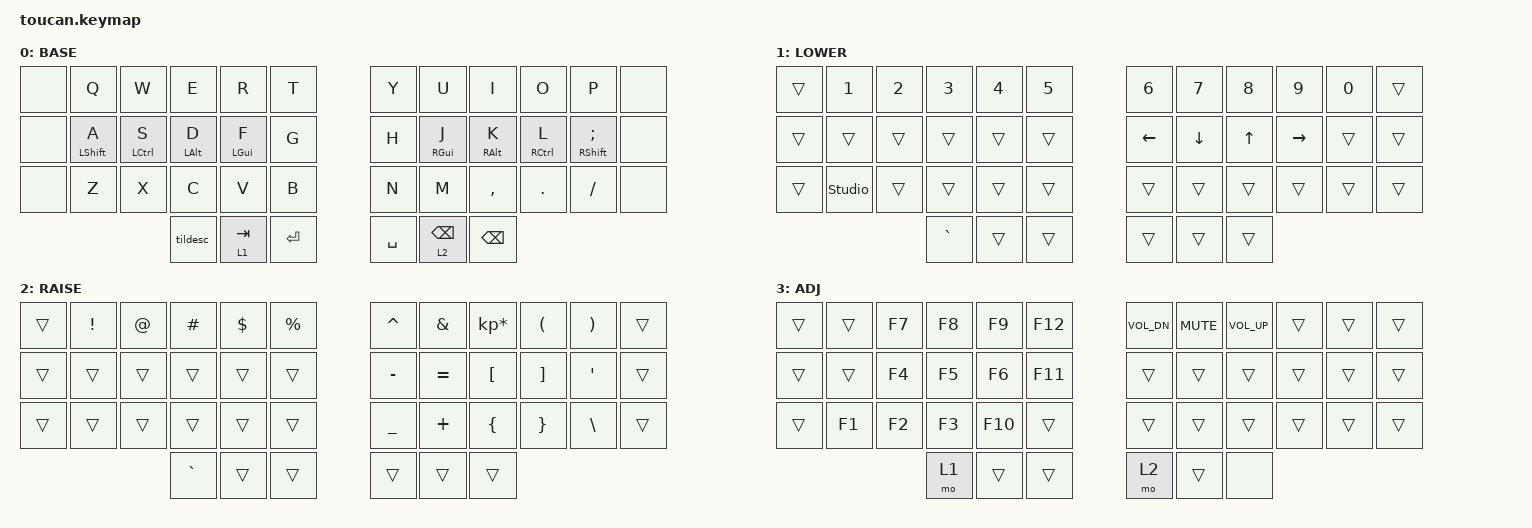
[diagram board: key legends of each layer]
#include <behaviors.dtsi>
#include <dt-bindings/zmk/keys.h>
#include <dt-bindings/zmk/bt.h>
#include <dt-bindings/zmk/outputs.h>

// Adding pointing.h to be able to right and middle click
// https://zmk.dev/docs/keymaps/behaviors/mouse-emulation
#include <dt-bindings/zmk/pointing.h>

#define BASE  0
#define LOWER 1
#define RAISE 2
#define ADJ   3


#define KEYS_L            0 1 2 3 4 5 12 13 14 15 16 17 24 25 26 27 28 29
#define KEYS_R            6 7 8 9 10 11 18 19 20 21 22 23 30 31 32 33 34 35
#define THUMBS            36 37 38 39 40 41
#define HRM_PRIOR_IDLE_MS 75

&lt {
  tapping-term-ms = <240>;
  flavor = "balanced";
  quick-tap-ms = <150>;
};

&mt {
  tapping-term-ms = <240>;
  flavor = "balanced";
  quick-tap-ms = <150>;
};

/ {
    conditional_layers {
        compatible = "zmk,conditional-layers";
        tri_layer {
            if-layers = <1 2>;
            then-layer = <3>;
        };
    };

    behaviors {
      // Testing urob's timeless home-row mods:
      // https://github.com/urob/zmk-config#timeless-homerow-mods
      // Cross-hand shortcuts can resolve immediately; same-hand shortcuts still
      // require holding past tapping-term-ms before pressing the next key.
      hrm_l: hrm_l {
        compatible = "zmk,behavior-hold-tap";
        #binding-cells = <2>;
        // How long a plain hold waits before becoming the modifier.
        // Cross-hand shortcuts can still resolve sooner via balanced + hold-trigger-key-positions.
        tapping-term-ms = <240>;
        bindings = <&kp>, <&kp>;
        flavor = "balanced";
        // If this HRM is tapped and quickly pressed again, keep the second press as a tap.
        // Useful for repeating letters without the second press becoming the modifier.
        quick-tap-ms = <150>;
        // If pressed within this window after a normal key, force a tap so fast typing stays immediate.
        // Lower this if intended HRM shifts/mods are blocked while typing quickly;
        // raise it if fast rolls accidentally trigger modifiers.
        require-prior-idle-ms = <HRM_PRIOR_IDLE_MS>;
        hold-trigger-key-positions = <KEYS_R THUMBS>;
        hold-trigger-on-release;
      };

      hrm_r: hrm_r {
        compatible = "zmk,behavior-hold-tap";
        #binding-cells = <2>;
        tapping-term-ms = <240>;
        bindings = <&kp>, <&kp>;
        flavor = "balanced";
        quick-tap-ms = <150>;
        require-prior-idle-ms = <HRM_PRIOR_IDLE_MS>;
        hold-trigger-key-positions = <KEYS_L THUMBS>;
        hold-trigger-on-release;
      };

      tildesc: tilde_escape {
        compatible = "zmk,behavior-mod-morph";
        #binding-cells = <0>;
        bindings = <&kp ESC>, <&kp TILDE>;
        mods = <(MOD_LGUI|MOD_LSFT|MOD_RGUI|MOD_RSFT)>;
      };
    };

    keymap {
        compatible = "zmk,keymap";

        base {
            display-name = "BASE";
            bindings = <
                &none  &kp Q          &kp W           &kp E         &kp R         &kp T           &kp Y     &kp U         &kp I         &kp O           &kp P             &none
                &none  &hrm_l LSHFT A &hrm_l LCTRL S  &hrm_l LALT D &hrm_l LGUI F &kp G           &kp H     &hrm_r RGUI J &hrm_r RALT K &hrm_r RCTRL L  &hrm_r RSHFT SEMI &none
                &none  &kp Z          &kp X           &kp C         &kp V         &kp B           &kp N     &kp M         &kp COMMA     &kp DOT         &kp FSLH          &none
                                                      &tildesc      &lt 1 TAB     &kp RET         &kp SPACE &lt 2 BSPC    &kp BSPC
            >;
        };

        lower {
            display-name = "LOWER";
            bindings = <
                &trans  &kp N1         &kp N2   &kp N3    &kp N4  &kp N5           &kp N6   &kp N7   &kp N8  &kp N9     &kp N0  &trans
                &trans  &trans         &trans   &trans    &trans  &trans           &kp LEFT &kp DOWN &kp UP  &kp RIGHT  &trans  &trans
                &trans  &studio_unlock &trans   &trans    &trans  &trans           &trans   &trans   &trans  &trans     &trans  &trans
                                                &kp GRAVE &trans  &trans           &trans   &trans   &trans
            >;
        };

        raise {
            display-name = "RAISE";
            bindings = <
                &trans  &kp EXCL  &kp AT  &kp HASH  &kp DLLR  &kp PRCNT         &kp CARET  &kp AMPS   &kp KP_MULTIPLY  &kp LPAR  &kp RPAR  &trans
                &trans  &trans    &trans  &trans    &trans    &trans            &kp MINUS  &kp EQUAL  &kp LBKT         &kp RBKT  &kp SQT   &trans
                &trans  &trans    &trans  &trans    &trans    &trans            &kp UNDER  &kp PLUS   &kp LBRC         &kp RBRC  &kp BSLH  &trans
                                          &kp GRAVE &trans    &trans            &trans     &trans     &trans
            >;
        };

        adj {
            display-name = "ADJ";
            bindings = <
                &trans  &trans  &kp F7  &kp F8  &kp F9   &kp F12            &kp C_VOL_DN  &kp C_MUTE  &kp C_VOL_UP  &trans  &trans  &trans
                &trans  &trans  &kp F4  &kp F5  &kp F6   &kp F11            &trans        &trans      &trans        &trans  &trans  &trans
                &trans  &kp F1  &kp F2  &kp F3  &kp F10  &trans             &trans        &trans      &trans        &trans  &trans  &trans
                                        &mo 1   &trans   &trans             &mo 2         &trans      &none
            >;
        };

        extra_1 {
                status = "reserved";
        };

        extra_2 {
                status = "reserved";
        };

        extra_3 {
                status = "reserved";
        };
    };
};
